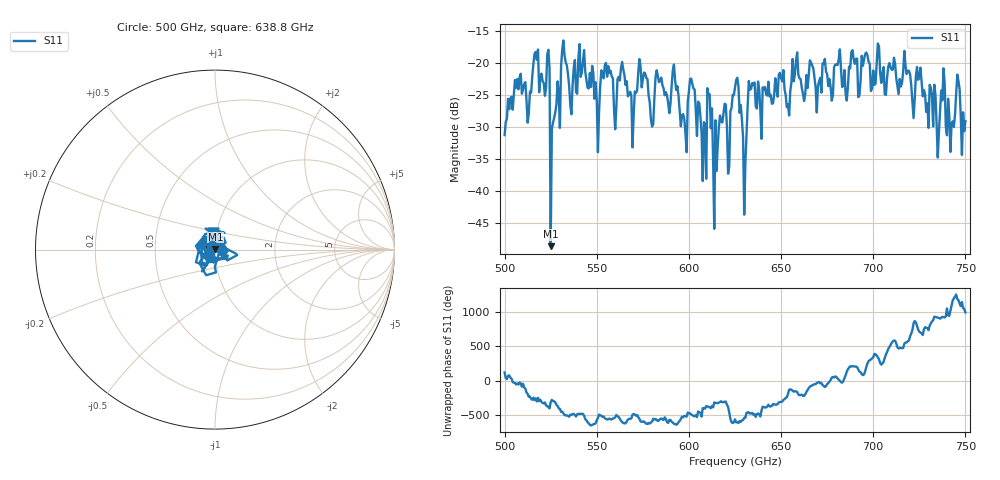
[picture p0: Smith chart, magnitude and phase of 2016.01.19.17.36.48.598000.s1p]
!Created with skrf (http://scikit-rf.org).
# GHz S RI R 50.0
!freq ReS11 ImS11
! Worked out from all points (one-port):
!   401 points, 500 GHz to 750 GHz, reference 50 ohm
!   lowest |S11| = -48.6 dB at 525 GHz (marker M1), VSWR 1.01, Z = 50.2 + j0.286 ohm
!   |S11| at or under -10 dB: start of sweep to end of sweep
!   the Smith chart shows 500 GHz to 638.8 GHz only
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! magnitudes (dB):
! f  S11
! 500 GHz  -31.2
! 507.5 GHz  -24.1
! 513.1 GHz  -27.8
! 516.9 GHz  -18.2
! 523.1 GHz  -18.6
! 525 GHz  -48.6
! 526.2 GHz  -29.3
! 531.2 GHz  -17.9
! 541.9 GHz  -21.5
! 550 GHz  -25.8
! 562.5 GHz  -22.7
! 568.8 GHz  -25.0
! 573.8 GHz  -20.4
! 580 GHz  -29.9
! 583.1 GHz  -22.0
! 593.8 GHz  -23.6
! 597.5 GHz  -28.8
! 601.9 GHz  -23.2
! 608.1 GHz  -29.2
! 611.2 GHz  -24.9
! 614.4 GHz  -28.9
! 625 GHz  -23.7
! 630 GHz  -43.7
! 633.8 GHz  -24.0
! 656.2 GHz  -19.3
! 687.5 GHz  -20.8
! 718.8 GHz  -21.2
! 750 GHz  -29.0
